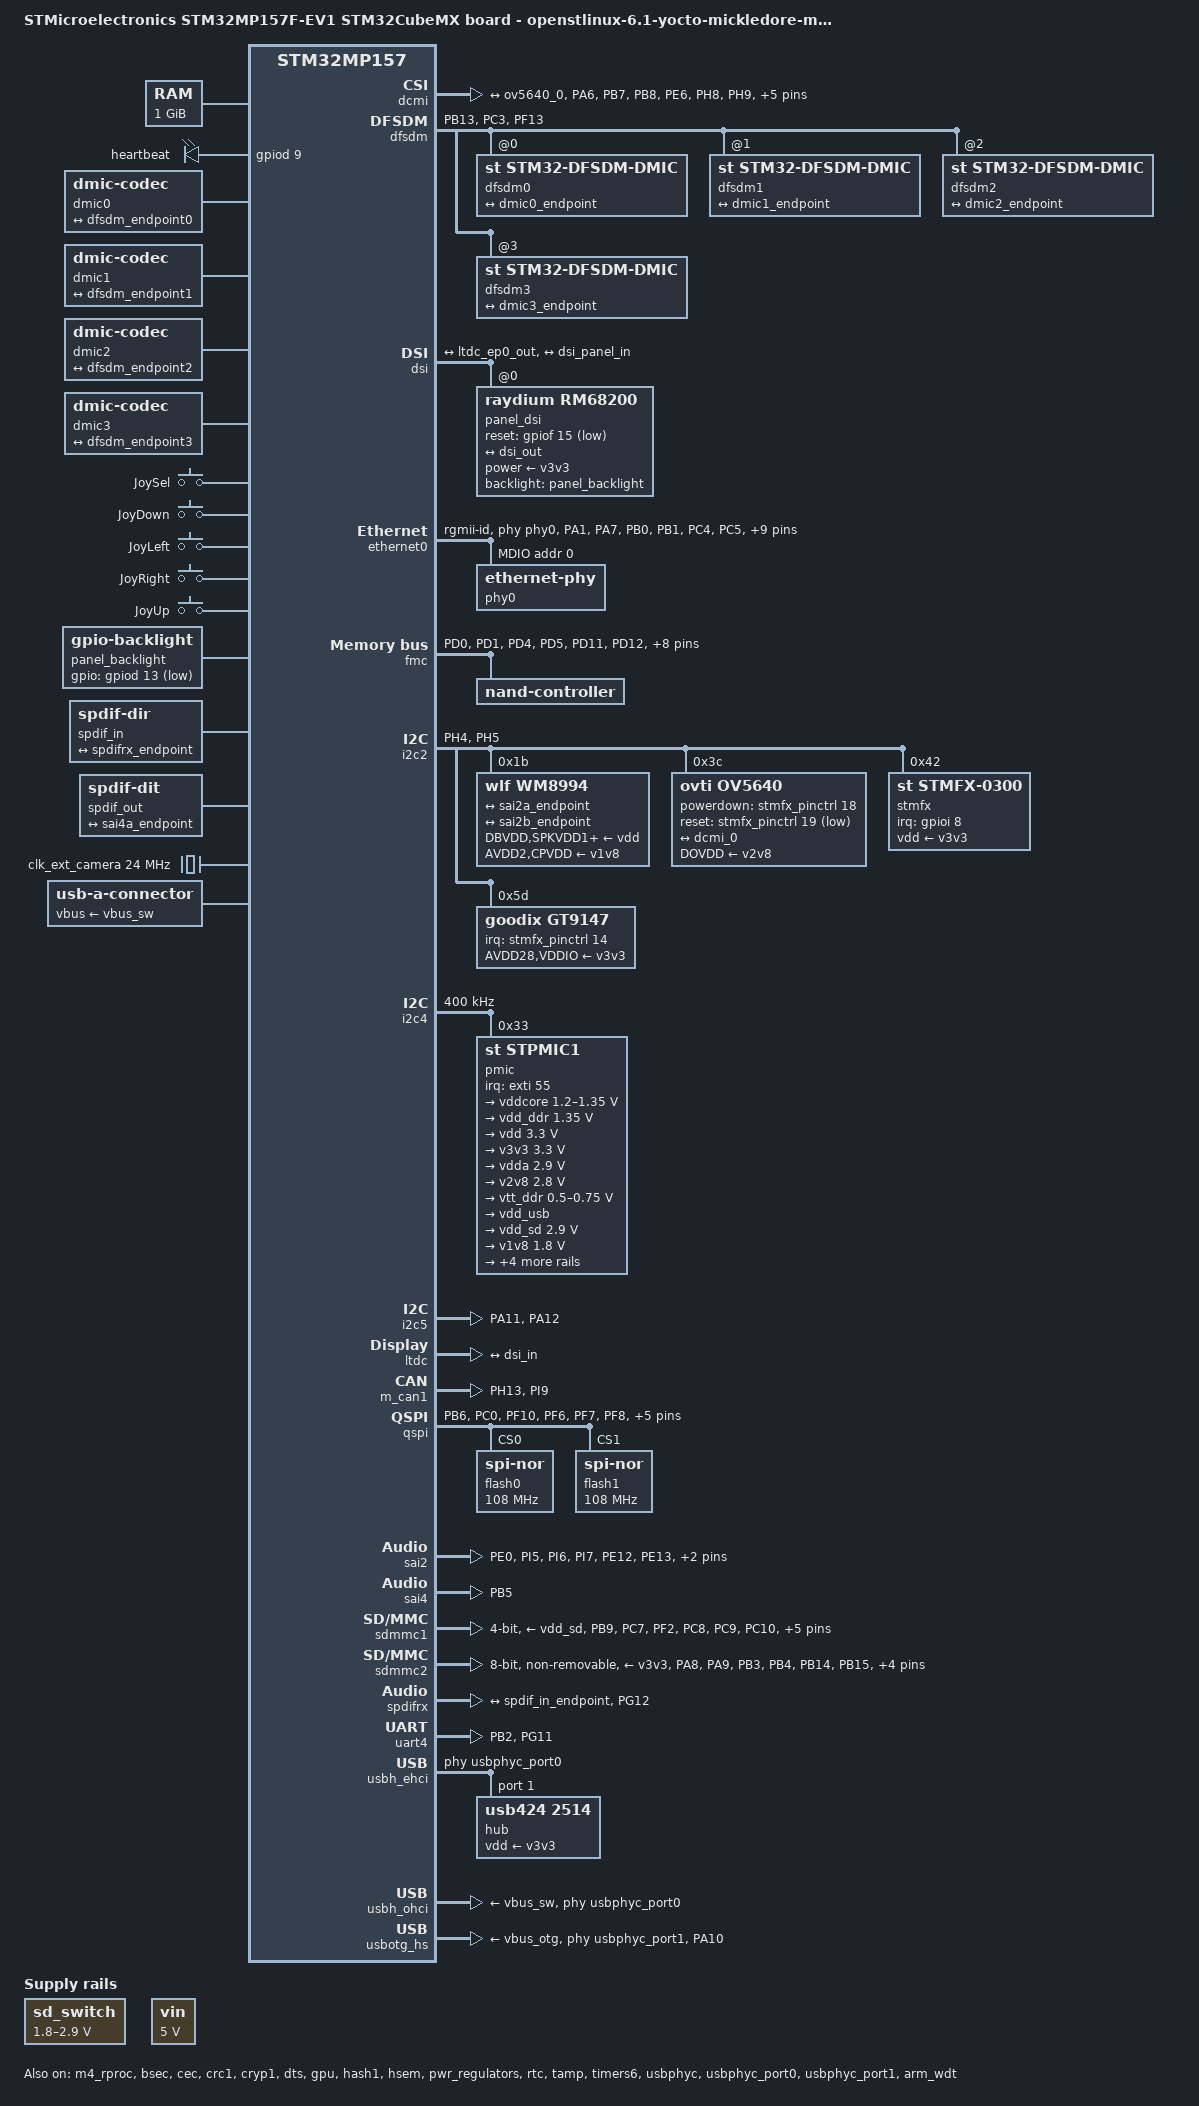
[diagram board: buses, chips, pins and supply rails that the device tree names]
// SPDX-License-Identifier: (GPL-2.0-or-later OR BSD-3-Clause)
/*
 * Copyright (C) 2024, STMicroelectronics - All Rights Reserved
 * Author: STM32CubeMX code generation for STMicroelectronics.
 */

/* For more information on Device Tree configuration, please refer to
 * https://wiki.st.com/stm32mpu/wiki/Category:Device_tree_configuration
 */

/dts-v1/;

#include <dt-bindings/pinctrl/stm32-pinfunc.h>
#include "stm32mp157.dtsi"
#include "stm32mp15xf.dtsi"
#include "stm32mp15xxaa-pinctrl.dtsi"
#include "stm32mp15-m4-srm.dtsi"

/* USER CODE BEGIN includes */
#include "stm32mp157c-ed1-scmi.dtsi"
#include <dt-bindings/gpio/gpio.h>
#include <dt-bindings/mfd/st,stpmic1.h>
#include "stm32mp157c-ev1-scmi.dtsi"
#include <dt-bindings/input/input.h>
/* USER CODE END includes */

/ {
	model = "STMicroelectronics STM32MP157F-EV1 STM32CubeMX board - openstlinux-6.1-yocto-mickledore-mpu-v24.06.26";
	compatible = "st,stm32mp157f-stm32mp157f-ev1-mx", "st,stm32mp157f-ev1", "st,stm32mp157";

	memory@c0000000 {
		device_type = "memory";
		reg = <0xc0000000 0x40000000>;

		/* USER CODE BEGIN memory */
		/* USER CODE END memory */
	};

	reserved-memory {
		#address-cells = <1>;
		#size-cells = <1>;
		ranges;

		/* USER CODE BEGIN reserved-memory */

		mcuram2:mcuram2@10000000{
			compatible = "shared-dma-pool";
			reg = <0x10000000 0x40000>;
			no-map;
		};

		vdev0vring0:vdev0vring0@10040000{
			compatible = "shared-dma-pool";
			reg = <0x10040000 0x1000>;
			no-map;
		};

		vdev0vring1:vdev0vring1@10041000{
			compatible = "shared-dma-pool";
			reg = <0x10041000 0x1000>;
			no-map;
		};

		vdev0buffer:vdev0buffer@10042000{
			compatible = "shared-dma-pool";
			reg = <0x10042000 0x4000>;
			no-map;
		};

		mcu_rsc_table:mcu-rsc-table@10048000{
			compatible = "shared-dma-pool";
			reg = <0x10048000 0x8000>;
			no-map;
		};

		mcuram:mcuram@30000000{
			compatible = "shared-dma-pool";
			reg = <0x30000000 0x40000>;
			no-map;
		};

		retram:retram@38000000{
			compatible = "shared-dma-pool";
			reg = <0x38000000 0x10000>;
			no-map;
		};

		gpu_reserved:gpu@e8000000{
			reg = <0xe8000000 0x8000000>;
			no-map;
		};

		linux,cma{
			compatible = "shared-dma-pool";
			reusable;
			size = <0x8000000>;
			alignment = <0x2000>;
			linux,cma-default;
		};
		/* USER CODE END reserved-memory */
	};

	/* USER CODE BEGIN root */

	aliases{
		serial0 = &uart4;
		serial1 = &usart3;
		serial4 = &usart1;
		ethernet0 = &ethernet0;
	};

	chosen{
		stdout-path = "serial0:115200n8";
		#address-cells = <1>;
		#size-cells = <1>;
		ranges;
	};

	led{
		compatible = "gpio-leds";

		led-blue{
			label = "heartbeat";
			gpios = <&gpiod 9 GPIO_ACTIVE_HIGH>;
			linux,default-trigger = "heartbeat";
			default-state = "off";
		};
	};

	sd_switch:regulator-sd-switch{
		compatible = "regulator-gpio";
		regulator-name = "sd_switch";
		regulator-min-microvolt = <1800000>;
		regulator-max-microvolt = <2900000>;
		regulator-type = "voltage";
		regulator-always-on;
		gpios = <&gpiof 14 GPIO_ACTIVE_HIGH>;
		gpios-states = <0>;
		states = <1800000 0x1>,
				<2900000 0x0>;
	};

	vin:vin{
		compatible = "regulator-fixed";
		regulator-name = "vin";
		regulator-min-microvolt = <5000000>;
		regulator-max-microvolt = <5000000>;
		regulator-always-on;
	};

	dmic0:dmic-0{
		compatible = "dmic-codec";
		#sound-dai-cells = <1>;
		sound-name-prefix = "dmic0";

		port{

			dmic0_endpoint:endpoint{
				remote-endpoint = <&dfsdm_endpoint0>;
			};
		};
	};

	dmic1:dmic-1{
		compatible = "dmic-codec";
		#sound-dai-cells = <1>;
		sound-name-prefix = "dmic1";

		port{

			dmic1_endpoint:endpoint{
				remote-endpoint = <&dfsdm_endpoint1>;
			};
		};
	};

	dmic2:dmic-2{
		compatible = "dmic-codec";
		#sound-dai-cells = <1>;
		sound-name-prefix = "dmic2";

		port{

			dmic2_endpoint:endpoint{
				remote-endpoint = <&dfsdm_endpoint2>;
			};
		};
	};

	dmic3:dmic-3{
		compatible = "dmic-codec";
		#sound-dai-cells = <1>;
		sound-name-prefix = "dmic3";

		port{

			dmic3_endpoint:endpoint{
				remote-endpoint = <&dfsdm_endpoint3>;
			};
		};
	};

	joystick{
		compatible = "gpio-keys";
		pinctrl-0 = <&joystick_pins>;
		pinctrl-names = "default";

		button-0{
			label = "JoySel";
			linux,code = <KEY_ENTER>;
			interrupt-parent = <&stmfx_pinctrl>;
			interrupts = <0 IRQ_TYPE_EDGE_RISING>;
		};

		button-1{
			label = "JoyDown";
			linux,code = <KEY_DOWN>;
			interrupt-parent = <&stmfx_pinctrl>;
			interrupts = <1 IRQ_TYPE_EDGE_RISING>;
		};

		button-2{
			label = "JoyLeft";
			linux,code = <KEY_LEFT>;
			interrupt-parent = <&stmfx_pinctrl>;
			interrupts = <2 IRQ_TYPE_EDGE_RISING>;
		};

		button-3{
			label = "JoyRight";
			linux,code = <KEY_RIGHT>;
			interrupt-parent = <&stmfx_pinctrl>;
			interrupts = <3 IRQ_TYPE_EDGE_RISING>;
		};

		button-4{
			label = "JoyUp";
			linux,code = <KEY_UP>;
			interrupt-parent = <&stmfx_pinctrl>;
			interrupts = <4 IRQ_TYPE_EDGE_RISING>;
		};
	};

	panel_backlight:panel-backlight{
		compatible = "gpio-backlight";
		gpios = <&gpiod 13 GPIO_ACTIVE_LOW>;
		default-on;
		default-brightness-level = <1>;
		status = "okay";
	};

	sound:sound{
		compatible = "audio-graph-card";
		label = "STM32MP15-EV";
		routing = "AIF1CLK", "MCLK1",
				"AIF2CLK", "MCLK1",
				"IN1LN", "MICBIAS2",
				"DMIC2DAT", "MICBIAS1",
				"DMIC1DAT", "MICBIAS1";
		dais = <&sai2a_port &sai2b_port &sai4a_port &spdifrx_port
			&dfsdm0_port &dfsdm1_port &dfsdm2_port &dfsdm3_port>;
		status = "okay";
	};

	spdif_in:spdif-in{
		#sound-dai-cells = <0>;
		compatible = "linux,spdif-dir";

		spdif_in_port:port{

			spdif_in_endpoint:endpoint{
				remote-endpoint = <&spdifrx_endpoint>;
			};
		};
	};

	spdif_out:spdif-out{
		#sound-dai-cells = <0>;
		compatible = "linux,spdif-dit";

		spdif_out_port:port{

			spdif_out_endpoint:endpoint{
				remote-endpoint = <&sai4a_endpoint>;
			};
		};
	};
	/* USER CODE END root */

	clocks{

		/* USER CODE BEGIN clocks */

		clk_ext_camera:clk-ext-camera{
			#clock-cells = <0>;
			compatible = "fixed-clock";
			clock-frequency = <24000000>;
		};
		/* USER CODE END clocks */
	};

}; /*root*/

&pinctrl {

	dcmi_pins_mx: dcmi_mx-0 {
		pins {
			pinmux = <STM32_PINMUX('A', 6, AF13)>, /* DCMI_PIXCLK */
					 <STM32_PINMUX('B', 7, AF13)>, /* DCMI_VSYNC */
					 <STM32_PINMUX('B', 8, AF13)>, /* DCMI_D6 */
					 <STM32_PINMUX('E', 6, AF13)>, /* DCMI_D7 */
					 <STM32_PINMUX('H', 8, AF13)>, /* DCMI_HSYNC */
					 <STM32_PINMUX('H', 9, AF13)>, /* DCMI_D0 */
					 <STM32_PINMUX('H', 10, AF13)>, /* DCMI_D1 */
					 <STM32_PINMUX('H', 11, AF13)>, /* DCMI_D2 */
					 <STM32_PINMUX('H', 12, AF13)>, /* DCMI_D3 */
					 <STM32_PINMUX('H', 14, AF13)>, /* DCMI_D4 */
					 <STM32_PINMUX('I', 4, AF13)>; /* DCMI_D5 */
			bias-disable;
		};
	};

	dcmi_sleep_pins_mx: dcmi_sleep_mx-0 {
		pins {
			pinmux = <STM32_PINMUX('A', 6, ANALOG)>, /* DCMI_PIXCLK */
					 <STM32_PINMUX('B', 7, ANALOG)>, /* DCMI_VSYNC */
					 <STM32_PINMUX('B', 8, ANALOG)>, /* DCMI_D6 */
					 <STM32_PINMUX('E', 6, ANALOG)>, /* DCMI_D7 */
					 <STM32_PINMUX('H', 8, ANALOG)>, /* DCMI_HSYNC */
					 <STM32_PINMUX('H', 9, ANALOG)>, /* DCMI_D0 */
					 <STM32_PINMUX('H', 10, ANALOG)>, /* DCMI_D1 */
					 <STM32_PINMUX('H', 11, ANALOG)>, /* DCMI_D2 */
					 <STM32_PINMUX('H', 12, ANALOG)>, /* DCMI_D3 */
					 <STM32_PINMUX('H', 14, ANALOG)>, /* DCMI_D4 */
					 <STM32_PINMUX('I', 4, ANALOG)>; /* DCMI_D5 */
		};
	};

	dfsdm_pins_mx: dfsdm_mx-0 {
		pins1 {
			pinmux = <STM32_PINMUX('B', 13, AF3)>; /* DFSDM1_CKOUT */
			bias-disable;
			drive-push-pull;
			slew-rate = <0>;
		};
		pins2 {
			pinmux = <STM32_PINMUX('C', 3, AF3)>, /* DFSDM1_DATIN1 */
					 <STM32_PINMUX('F', 13, AF6)>; /* DFSDM1_DATIN3 */
			bias-disable;
		};
	};

	dfsdm_sleep_pins_mx: dfsdm_sleep_mx-0 {
		pins {
			pinmux = <STM32_PINMUX('B', 13, ANALOG)>, /* DFSDM1_CKOUT */
					 <STM32_PINMUX('C', 3, ANALOG)>, /* DFSDM1_DATIN1 */
					 <STM32_PINMUX('F', 13, ANALOG)>; /* DFSDM1_DATIN3 */
		};
	};

	eth1_pins_mx: eth1_mx-0 {
		pins1 {
			pinmux = <STM32_PINMUX('A', 1, AF11)>, /* ETH1_RX_CLK */
					 <STM32_PINMUX('A', 7, AF11)>, /* ETH1_RX_CTL */
					 <STM32_PINMUX('B', 0, AF11)>, /* ETH1_RXD2 */
					 <STM32_PINMUX('B', 1, AF11)>, /* ETH1_RXD3 */
					 <STM32_PINMUX('C', 4, AF11)>, /* ETH1_RXD0 */
					 <STM32_PINMUX('C', 5, AF11)>; /* ETH1_RXD1 */
			bias-disable;
		};
		pins2 {
			pinmux = <STM32_PINMUX('A', 2, AF11)>; /* ETH1_MDIO */
			bias-disable;
			drive-push-pull;
			slew-rate = <0>;
		};
		pins3 {
			pinmux = <STM32_PINMUX('B', 11, AF11)>, /* ETH1_TX_CTL */
					 <STM32_PINMUX('C', 1, AF11)>, /* ETH1_MDC */
					 <STM32_PINMUX('C', 2, AF11)>, /* ETH1_TXD2 */
					 <STM32_PINMUX('E', 2, AF11)>, /* ETH1_TXD3 */
					 <STM32_PINMUX('G', 4, AF11)>, /* ETH1_GTX_CLK */
					 <STM32_PINMUX('G', 5, AF11)>, /* ETH1_CLK125 */
					 <STM32_PINMUX('G', 13, AF11)>, /* ETH1_TXD0 */
					 <STM32_PINMUX('G', 14, AF11)>; /* ETH1_TXD1 */
			bias-disable;
			drive-push-pull;
			slew-rate = <2>;
		};
	};

	eth1_sleep_pins_mx: eth1_sleep_mx-0 {
		pins {
			pinmux = <STM32_PINMUX('A', 1, ANALOG)>, /* ETH1_RX_CLK */
					 <STM32_PINMUX('A', 2, ANALOG)>, /* ETH1_MDIO */
					 <STM32_PINMUX('A', 7, ANALOG)>, /* ETH1_RX_CTL */
					 <STM32_PINMUX('B', 0, ANALOG)>, /* ETH1_RXD2 */
					 <STM32_PINMUX('B', 1, ANALOG)>, /* ETH1_RXD3 */
					 <STM32_PINMUX('B', 11, ANALOG)>, /* ETH1_TX_CTL */
					 <STM32_PINMUX('C', 1, ANALOG)>, /* ETH1_MDC */
					 <STM32_PINMUX('C', 2, ANALOG)>, /* ETH1_TXD2 */
					 <STM32_PINMUX('C', 4, ANALOG)>, /* ETH1_RXD0 */
					 <STM32_PINMUX('C', 5, ANALOG)>, /* ETH1_RXD1 */
					 <STM32_PINMUX('E', 2, ANALOG)>, /* ETH1_TXD3 */
					 <STM32_PINMUX('G', 4, ANALOG)>, /* ETH1_GTX_CLK */
					 <STM32_PINMUX('G', 5, ANALOG)>, /* ETH1_CLK125 */
					 <STM32_PINMUX('G', 13, ANALOG)>, /* ETH1_TXD0 */
					 <STM32_PINMUX('G', 14, ANALOG)>; /* ETH1_TXD1 */
		};
	};

	fdcan1_pins_mx: fdcan1_mx-0 {
		pins1 {
			pinmux = <STM32_PINMUX('H', 13, AF9)>; /* FDCAN1_TX */
			bias-disable;
			drive-push-pull;
			slew-rate = <1>;
		};
		pins2 {
			pinmux = <STM32_PINMUX('I', 9, AF9)>; /* FDCAN1_RX */
			bias-disable;
		};
	};

	fdcan1_sleep_pins_mx: fdcan1_sleep_mx-0 {
		pins {
			pinmux = <STM32_PINMUX('H', 13, ANALOG)>, /* FDCAN1_TX */
					 <STM32_PINMUX('I', 9, ANALOG)>; /* FDCAN1_RX */
		};
	};

	fmc_pins_mx: fmc_mx-0 {
		pins1 {
			pinmux = <STM32_PINMUX('D', 0, AF12)>, /* FMC_D2 */
					 <STM32_PINMUX('D', 1, AF12)>, /* FMC_D3 */
					 <STM32_PINMUX('D', 4, AF12)>, /* FMC_NOE */
					 <STM32_PINMUX('D', 5, AF12)>, /* FMC_NWE */
					 <STM32_PINMUX('D', 11, AF12)>, /* FMC_CLE */
					 <STM32_PINMUX('D', 12, AF12)>, /* FMC_ALE */
					 <STM32_PINMUX('D', 14, AF12)>, /* FMC_D0 */
					 <STM32_PINMUX('D', 15, AF12)>, /* FMC_D1 */
					 <STM32_PINMUX('E', 7, AF12)>, /* FMC_D4 */
					 <STM32_PINMUX('E', 8, AF12)>, /* FMC_D5 */
					 <STM32_PINMUX('E', 9, AF12)>, /* FMC_D6 */
					 <STM32_PINMUX('E', 10, AF12)>, /* FMC_D7 */
					 <STM32_PINMUX('G', 9, AF12)>; /* FMC_NCE */
			bias-disable;
			drive-push-pull;
			slew-rate = <1>;
		};
		pins2 {
			pinmux = <STM32_PINMUX('D', 6, AF12)>; /* FMC_NWAIT */
			bias-pull-up;
		};
	};

	fmc_sleep_pins_mx: fmc_sleep_mx-0 {
		pins {
			pinmux = <STM32_PINMUX('D', 0, ANALOG)>, /* FMC_D2 */
					 <STM32_PINMUX('D', 1, ANALOG)>, /* FMC_D3 */
					 <STM32_PINMUX('D', 4, ANALOG)>, /* FMC_NOE */
					 <STM32_PINMUX('D', 5, ANALOG)>, /* FMC_NWE */
					 <STM32_PINMUX('D', 6, ANALOG)>, /* FMC_NWAIT */
					 <STM32_PINMUX('D', 11, ANALOG)>, /* FMC_CLE */
					 <STM32_PINMUX('D', 12, ANALOG)>, /* FMC_ALE */
					 <STM32_PINMUX('D', 14, ANALOG)>, /* FMC_D0 */
					 <STM32_PINMUX('D', 15, ANALOG)>, /* FMC_D1 */
					 <STM32_PINMUX('E', 7, ANALOG)>, /* FMC_D4 */
					 <STM32_PINMUX('E', 8, ANALOG)>, /* FMC_D5 */
					 <STM32_PINMUX('E', 9, ANALOG)>, /* FMC_D6 */
					 <STM32_PINMUX('E', 10, ANALOG)>, /* FMC_D7 */
					 <STM32_PINMUX('G', 9, ANALOG)>; /* FMC_NCE */
		};
	};

	hdmi_cec_pins_mx: hdmi_cec_mx-0 {
		pins {
			pinmux = <STM32_PINMUX('A', 15, AF4)>; /* CEC */
			bias-disable;
			drive-open-drain;
			slew-rate = <0>;
		};
	};

	hdmi_cec_sleep_pins_mx: hdmi_cec_sleep_mx-0 {
		pins {
			pinmux = <STM32_PINMUX('A', 15, ANALOG)>; /* CEC */
		};
	};

	i2c2_pins_mx: i2c2_mx-0 {
		pins {
			pinmux = <STM32_PINMUX('H', 4, AF4)>, /* I2C2_SCL */
					 <STM32_PINMUX('H', 5, AF4)>; /* I2C2_SDA */
			bias-disable;
			drive-open-drain;
			slew-rate = <0>;
		};
	};

	i2c2_sleep_pins_mx: i2c2_sleep_mx-0 {
		pins {
			pinmux = <STM32_PINMUX('H', 4, ANALOG)>, /* I2C2_SCL */
					 <STM32_PINMUX('H', 5, ANALOG)>; /* I2C2_SDA */
		};
	};

	i2c5_pins_mx: i2c5_mx-0 {
		pins {
			pinmux = <STM32_PINMUX('A', 11, AF4)>, /* I2C5_SCL */
					 <STM32_PINMUX('A', 12, AF4)>; /* I2C5_SDA */
			bias-disable;
			drive-open-drain;
			slew-rate = <0>;
		};
	};

	i2c5_sleep_pins_mx: i2c5_sleep_mx-0 {
		pins {
			pinmux = <STM32_PINMUX('A', 11, ANALOG)>, /* I2C5_SCL */
					 <STM32_PINMUX('A', 12, ANALOG)>; /* I2C5_SDA */
		};
	};

	quadspi_pins_mx: quadspi_mx-0 {
		pins1 {
			pinmux = <STM32_PINMUX('B', 6, AF10)>, /* QUADSPI_BK1_NCS */
					 <STM32_PINMUX('C', 0, AF10)>; /* QUADSPI_BK2_NCS */
			bias-pull-up;
			drive-push-pull;
			slew-rate = <1>;
		};
		pins2 {
			pinmux = <STM32_PINMUX('F', 10, AF9)>; /* QUADSPI_CLK */
			bias-disable;
			drive-push-pull;
			slew-rate = <3>;
		};
		pins3 {
			pinmux = <STM32_PINMUX('F', 6, AF9)>, /* QUADSPI_BK1_IO3 */
					 <STM32_PINMUX('F', 7, AF9)>, /* QUADSPI_BK1_IO2 */
					 <STM32_PINMUX('F', 8, AF10)>, /* QUADSPI_BK1_IO0 */
					 <STM32_PINMUX('F', 9, AF10)>, /* QUADSPI_BK1_IO1 */
					 <STM32_PINMUX('G', 7, AF11)>, /* QUADSPI_BK2_IO3 */
					 <STM32_PINMUX('G', 10, AF11)>, /* QUADSPI_BK2_IO2 */
					 <STM32_PINMUX('H', 2, AF9)>, /* QUADSPI_BK2_IO0 */
					 <STM32_PINMUX('H', 3, AF9)>; /* QUADSPI_BK2_IO1 */
			bias-disable;
			drive-push-pull;
			slew-rate = <1>;
		};
	};

	quadspi_sleep_pins_mx: quadspi_sleep_mx-0 {
		pins {
			pinmux = <STM32_PINMUX('B', 6, ANALOG)>, /* QUADSPI_BK1_NCS */
					 <STM32_PINMUX('C', 0, ANALOG)>, /* QUADSPI_BK2_NCS */
					 <STM32_PINMUX('F', 6, ANALOG)>, /* QUADSPI_BK1_IO3 */
					 <STM32_PINMUX('F', 7, ANALOG)>, /* QUADSPI_BK1_IO2 */
					 <STM32_PINMUX('F', 8, ANALOG)>, /* QUADSPI_BK1_IO0 */
					 <STM32_PINMUX('F', 9, ANALOG)>, /* QUADSPI_BK1_IO1 */
					 <STM32_PINMUX('F', 10, ANALOG)>, /* QUADSPI_CLK */
					 <STM32_PINMUX('G', 7, ANALOG)>, /* QUADSPI_BK2_IO3 */
					 <STM32_PINMUX('G', 10, ANALOG)>, /* QUADSPI_BK2_IO2 */
					 <STM32_PINMUX('H', 2, ANALOG)>, /* QUADSPI_BK2_IO0 */
					 <STM32_PINMUX('H', 3, ANALOG)>; /* QUADSPI_BK2_IO1 */
		};
	};

	sai2a_pins_mx: sai2a_mx-0 {
		pins {
			pinmux = <STM32_PINMUX('E', 0, AF10)>, /* SAI2_MCLK_A */
					 <STM32_PINMUX('I', 5, AF10)>, /* SAI2_SCK_A */
					 <STM32_PINMUX('I', 6, AF10)>, /* SAI2_SD_A */
					 <STM32_PINMUX('I', 7, AF10)>; /* SAI2_FS_A */
			bias-disable;
			drive-push-pull;
			slew-rate = <0>;
		};
	};

	sai2a_sleep_pins_mx: sai2a_sleep_mx-0 {
		pins {
			pinmux = <STM32_PINMUX('E', 0, ANALOG)>, /* SAI2_MCLK_A */
					 <STM32_PINMUX('I', 5, ANALOG)>, /* SAI2_SCK_A */
					 <STM32_PINMUX('I', 6, ANALOG)>, /* SAI2_SD_A */
					 <STM32_PINMUX('I', 7, ANALOG)>; /* SAI2_FS_A */
		};
	};

	sai2b_pins_mx: sai2b_mx-0 {
		pins {
			pinmux = <STM32_PINMUX('E', 12, AF10)>, /* SAI2_SCK_B */
					 <STM32_PINMUX('E', 13, AF10)>, /* SAI2_FS_B */
					 <STM32_PINMUX('E', 14, AF10)>, /* SAI2_MCLK_B */
					 <STM32_PINMUX('F', 11, AF10)>; /* SAI2_SD_B */
			bias-disable;
			drive-push-pull;
			slew-rate = <0>;
		};
	};

	sai2b_sleep_pins_mx: sai2b_sleep_mx-0 {
		pins {
			pinmux = <STM32_PINMUX('E', 12, ANALOG)>, /* SAI2_SCK_B */
					 <STM32_PINMUX('E', 13, ANALOG)>, /* SAI2_FS_B */
					 <STM32_PINMUX('E', 14, ANALOG)>, /* SAI2_MCLK_B */
					 <STM32_PINMUX('F', 11, ANALOG)>; /* SAI2_SD_B */
		};
	};

	sai4a_pins_mx: sai4a_mx-0 {
		pins {
			pinmux = <STM32_PINMUX('B', 5, AF10)>; /* SAI4_SD_A */
			bias-disable;
			drive-push-pull;
			slew-rate = <0>;
		};
	};

	sai4a_sleep_pins_mx: sai4a_sleep_mx-0 {
		pins {
			pinmux = <STM32_PINMUX('B', 5, ANALOG)>; /* SAI4_SD_A */
		};
	};

	sdmmc1_pins_mx: sdmmc1_mx-0 {
		pins1 {
			pinmux = <STM32_PINMUX('B', 9, AF11)>, /* SDMMC1_CDIR */
					 <STM32_PINMUX('C', 7, AF8)>, /* SDMMC1_D123DIR */
					 <STM32_PINMUX('F', 2, AF11)>; /* SDMMC1_D0DIR */
			bias-pull-up;
			drive-push-pull;
			slew-rate = <1>;
		};
		pins2 {
			pinmux = <STM32_PINMUX('C', 8, AF12)>, /* SDMMC1_D0 */
					 <STM32_PINMUX('C', 9, AF12)>, /* SDMMC1_D1 */
					 <STM32_PINMUX('C', 10, AF12)>, /* SDMMC1_D2 */
					 <STM32_PINMUX('C', 11, AF12)>, /* SDMMC1_D3 */
					 <STM32_PINMUX('D', 2, AF12)>; /* SDMMC1_CMD */
			bias-disable;
			drive-push-pull;
			slew-rate = <1>;
		};
		pins3 {
			pinmux = <STM32_PINMUX('C', 12, AF12)>; /* SDMMC1_CK */
			bias-disable;
			drive-push-pull;
			slew-rate = <2>;
		};
		pins4 {
			pinmux = <STM32_PINMUX('E', 4, AF8)>; /* SDMMC1_CKIN */
			bias-pull-up;
		};
	};

	sdmmc1_opendrain_pins_mx: sdmmc1_opendrain_mx-0 {
		pins1 {
			pinmux = <STM32_PINMUX('B', 9, AF11)>, /* SDMMC1_CDIR */
					 <STM32_PINMUX('C', 7, AF8)>, /* SDMMC1_D123DIR */
					 <STM32_PINMUX('F', 2, AF11)>; /* SDMMC1_D0DIR */
			bias-pull-up;
			drive-push-pull;
			slew-rate = <1>;
		};
		pins2 {
			pinmux = <STM32_PINMUX('C', 8, AF12)>, /* SDMMC1_D0 */
					 <STM32_PINMUX('C', 9, AF12)>, /* SDMMC1_D1 */
					 <STM32_PINMUX('C', 10, AF12)>, /* SDMMC1_D2 */
					 <STM32_PINMUX('C', 11, AF12)>; /* SDMMC1_D3 */
			bias-disable;
			drive-push-pull;
			slew-rate = <1>;
		};
		pins3 {
			pinmux = <STM32_PINMUX('C', 12, AF12)>; /* SDMMC1_CK */
			bias-disable;
			drive-push-pull;
			slew-rate = <2>;
		};
		pins4 {
			pinmux = <STM32_PINMUX('D', 2, AF12)>; /* SDMMC1_CMD */
			bias-disable;
			drive-open-drain;
			slew-rate = <1>;
		};
		pins5 {
			pinmux = <STM32_PINMUX('E', 4, AF8)>; /* SDMMC1_CKIN */
			bias-pull-up;
		};
	};

	sdmmc1_sleep_pins_mx: sdmmc1_sleep_mx-0 {
		pins {
			pinmux = <STM32_PINMUX('B', 9, ANALOG)>, /* SDMMC1_CDIR */
					 <STM32_PINMUX('C', 7, ANALOG)>, /* SDMMC1_D123DIR */
					 <STM32_PINMUX('C', 8, ANALOG)>, /* SDMMC1_D0 */
					 <STM32_PINMUX('C', 9, ANALOG)>, /* SDMMC1_D1 */
					 <STM32_PINMUX('C', 10, ANALOG)>, /* SDMMC1_D2 */
					 <STM32_PINMUX('C', 11, ANALOG)>, /* SDMMC1_D3 */
					 <STM32_PINMUX('C', 12, ANALOG)>, /* SDMMC1_CK */
					 <STM32_PINMUX('D', 2, ANALOG)>, /* SDMMC1_CMD */
					 <STM32_PINMUX('E', 4, ANALOG)>, /* SDMMC1_CKIN */
					 <STM32_PINMUX('F', 2, ANALOG)>; /* SDMMC1_D0DIR */
		};
	};

	sdmmc2_pins_mx: sdmmc2_mx-0 {
		pins1 {
			pinmux = <STM32_PINMUX('A', 8, AF9)>, /* SDMMC2_D4 */
					 <STM32_PINMUX('A', 9, AF10)>, /* SDMMC2_D5 */
					 <STM32_PINMUX('B', 3, AF9)>, /* SDMMC2_D2 */
					 <STM32_PINMUX('B', 4, AF9)>, /* SDMMC2_D3 */
					 <STM32_PINMUX('B', 14, AF9)>, /* SDMMC2_D0 */
					 <STM32_PINMUX('B', 15, AF9)>, /* SDMMC2_D1 */
					 <STM32_PINMUX('D', 3, AF9)>, /* SDMMC2_D7 */
					 <STM32_PINMUX('E', 5, AF9)>, /* SDMMC2_D6 */
					 <STM32_PINMUX('G', 6, AF10)>; /* SDMMC2_CMD */
			bias-pull-up;
			drive-push-pull;
			slew-rate = <1>;
		};
		pins2 {
			pinmux = <STM32_PINMUX('E', 3, AF9)>; /* SDMMC2_CK */
			bias-pull-up;
			drive-push-pull;
			slew-rate = <2>;
		};
	};

	sdmmc2_opendrain_pins_mx: sdmmc2_opendrain_mx-0 {
		pins1 {
			pinmux = <STM32_PINMUX('A', 8, AF9)>, /* SDMMC2_D4 */
					 <STM32_PINMUX('A', 9, AF10)>, /* SDMMC2_D5 */
					 <STM32_PINMUX('B', 3, AF9)>, /* SDMMC2_D2 */
					 <STM32_PINMUX('B', 4, AF9)>, /* SDMMC2_D3 */
					 <STM32_PINMUX('B', 14, AF9)>, /* SDMMC2_D0 */
					 <STM32_PINMUX('B', 15, AF9)>, /* SDMMC2_D1 */
					 <STM32_PINMUX('D', 3, AF9)>, /* SDMMC2_D7 */
					 <STM32_PINMUX('E', 5, AF9)>; /* SDMMC2_D6 */
			bias-pull-up;
			drive-push-pull;
			slew-rate = <1>;
		};
		pins2 {
			pinmux = <STM32_PINMUX('E', 3, AF9)>; /* SDMMC2_CK */
			bias-pull-up;
			drive-push-pull;
			slew-rate = <2>;
		};
		pins3 {
			pinmux = <STM32_PINMUX('G', 6, AF10)>; /* SDMMC2_CMD */
			bias-pull-up;
			drive-open-drain;
			slew-rate = <1>;
		};
	};

	sdmmc2_sleep_pins_mx: sdmmc2_sleep_mx-0 {
		pins {
			pinmux = <STM32_PINMUX('A', 8, ANALOG)>, /* SDMMC2_D4 */
					 <STM32_PINMUX('A', 9, ANALOG)>, /* SDMMC2_D5 */
					 <STM32_PINMUX('B', 3, ANALOG)>, /* SDMMC2_D2 */
					 <STM32_PINMUX('B', 4, ANALOG)>, /* SDMMC2_D3 */
					 <STM32_PINMUX('B', 14, ANALOG)>, /* SDMMC2_D0 */
					 <STM32_PINMUX('B', 15, ANALOG)>, /* SDMMC2_D1 */
					 <STM32_PINMUX('D', 3, ANALOG)>, /* SDMMC2_D7 */
					 <STM32_PINMUX('E', 3, ANALOG)>, /* SDMMC2_CK */
					 <STM32_PINMUX('E', 5, ANALOG)>, /* SDMMC2_D6 */
					 <STM32_PINMUX('G', 6, ANALOG)>; /* SDMMC2_CMD */
		};
	};

	spdifrx_pins_mx: spdifrx_mx-0 {
		pins {
			pinmux = <STM32_PINMUX('G', 12, AF8)>; /* SPDIFRX_IN1 */
			bias-disable;
		};
	};

	spdifrx_sleep_pins_mx: spdifrx_sleep_mx-0 {
		pins {
			pinmux = <STM32_PINMUX('G', 12, ANALOG)>; /* SPDIFRX_IN1 */
		};
	};

	uart4_pins_mx: uart4_mx-0 {
		pins1 {
			pinmux = <STM32_PINMUX('B', 2, AF8)>; /* UART4_RX */
			bias-disable;
		};
		pins2 {
			pinmux = <STM32_PINMUX('G', 11, AF6)>; /* UART4_TX */
			bias-disable;
			drive-push-pull;
			slew-rate = <0>;
		};
	};

	uart4_idle_pins_mx: uart4_idle_mx-0 {
		pins1 {
			pinmux = <STM32_PINMUX('B', 2, AF8)>; /* UART4_RX */
			bias-disable;
		};
		pins2 {
			pinmux = <STM32_PINMUX('G', 11, ANALOG)>; /* UART4_TX */
		};
	};

	uart4_sleep_pins_mx: uart4_sleep_mx-0 {
		pins {
			pinmux = <STM32_PINMUX('B', 2, ANALOG)>, /* UART4_RX */
					 <STM32_PINMUX('G', 11, ANALOG)>; /* UART4_TX */
		};
	};

	usb_otg_hs_pins_mx: usb_otg_hs_mx-0 {
		pins {
			pinmux = <STM32_PINMUX('A', 10, ANALOG)>; /* USB_OTG_HS_ID */
		};
	};

	usb_otg_hs_sleep_pins_mx: usb_otg_hs_sleep_mx-0 {
		pins {
			pinmux = <STM32_PINMUX('A', 10, ANALOG)>; /* USB_OTG_HS_ID */
		};
	};

	/* USER CODE BEGIN pinctrl */
	/* USER CODE END pinctrl */
};

&pinctrl_z {

	i2c4_pins_z_mx: i2c4_mx-0 {
		pins {
			pinmux = <STM32_PINMUX('Z', 4, AF6)>, /* I2C4_SCL */
					 <STM32_PINMUX('Z', 5, AF6)>; /* I2C4_SDA */
			bias-disable;
			drive-open-drain;
			slew-rate = <0>;
		};
	};

	i2c4_sleep_pins_z_mx: i2c4_sleep_mx-0 {
		pins {
			pinmux = <STM32_PINMUX('Z', 4, ANALOG)>, /* I2C4_SCL */
					 <STM32_PINMUX('Z', 5, ANALOG)>; /* I2C4_SDA */
		};
	};

	/* USER CODE BEGIN pinctrl_z */
	/* USER CODE END pinctrl_z */
};

&m4_rproc{
	/*Restriction: "memory-region" property is not managed - please to use User-Section if needed*/
	mboxes = <&ipcc 0>, <&ipcc 1>, <&ipcc 2>;
	mbox-names = "vq0", "vq1", "shutdown";
	status = "okay";

	/* USER CODE BEGIN m4_rproc */
	memory-region = <&retram>, <&mcuram>, <&mcuram2>, <&vdev0vring0>,
			<&vdev0vring1>, <&vdev0buffer>, <&mcu_rsc_table>;
	interrupt-parent = <&exti>;
	interrupts = <68 1>;
	wakeup-source;
	/* USER CODE END m4_rproc */
};

&bsec{
	status = "okay";

	/* USER CODE BEGIN bsec */
	/* USER CODE END bsec */
};

&cec{
	pinctrl-names = "default", "sleep";
	pinctrl-0 = <&hdmi_cec_pins_mx>;
	pinctrl-1 = <&hdmi_cec_sleep_pins_mx>;
	status = "okay";

	/* USER CODE BEGIN cec */
	/* USER CODE END cec */
};

&crc1{
	status = "okay";

	/* USER CODE BEGIN crc1 */
	/* USER CODE END crc1 */
};

&cryp1{
	status = "okay";

	/* USER CODE BEGIN cryp1 */
	/* USER CODE END cryp1 */
};

&dcmi{
	pinctrl-names = "default", "sleep";
	pinctrl-0 = <&dcmi_pins_mx>;
	pinctrl-1 = <&dcmi_sleep_pins_mx>;
	status = "okay";

	/* USER CODE BEGIN dcmi */
	sram = <&dcmi_pool>;
	dmas = <&dmamux1 75 0x400 0x01>, <&mdma1 0 0x3 0x1200000a 0 0>;
	dma-names = "tx", "mdma_tx";

	port{

		dcmi_0:endpoint{
			remote-endpoint = <&ov5640_0>;
			bus-type = <5>;
			bus-width = <8>;
			hsync-active = <0>;
			vsync-active = <0>;
			pclk-sample = <1>;
			pclk-max-frequency = <77000000>;
		};
	};
	/* USER CODE END dcmi */
};

&dfsdm{
	pinctrl-names = "default", "sleep";
	pinctrl-0 = <&dfsdm_pins_mx>;
	pinctrl-1 = <&dfsdm_sleep_pins_mx>;
	status = "okay";

	/* USER CODE BEGIN dfsdm */
	spi-max-frequency = <2048000>;
	clocks = <&rcc DFSDM_K>, <&rcc ADFSDM_K>;
	clock-names = "dfsdm", "audio";

	dfsdm0:filter@0{
		compatible = "st,stm32-dfsdm-dmic";
		st,adc-channels = <3>;
		st,adc-channel-names = "dmic_u1";
		st,adc-channel-types = "SPI_R";
		st,adc-channel-clk-src = "CLKOUT";
		st,filter-order = <3>;
		status = "okay";

		asoc_pdm0:dfsdm-dai{
			compatible = "st,stm32h7-dfsdm-dai";
			#sound-dai-cells = <0>;
			io-channels = <&dfsdm0 0>;
			status = "okay";

			dfsdm0_port:port{

				dfsdm_endpoint0:endpoint{
					remote-endpoint = <&dmic0_endpoint>;
				};
			};
		};
	};

	dfsdm1:filter@1{
		compatible = "st,stm32-dfsdm-dmic";
		st,adc-channels = <0>;
		st,adc-channel-names = "dmic_u2";
		st,adc-channel-types = "SPI_F";
		st,adc-channel-clk-src = "CLKOUT";
		st,filter-order = <3>;
		st,adc-alt-channel = <1>;
		status = "okay";

		asoc_pdm1:dfsdm-dai{
			compatible = "st,stm32h7-dfsdm-dai";
			#sound-dai-cells = <0>;
			io-channels = <&dfsdm1 0>;
			status = "okay";

			dfsdm1_port:port{

				dfsdm_endpoint1:endpoint{
					remote-endpoint = <&dmic1_endpoint>;
				};
			};
		};
	};

	dfsdm2:filter@2{
		compatible = "st,stm32-dfsdm-dmic";
		st,adc-channels = <2>;
		st,adc-channel-names = "dmic_u3";
		st,adc-channel-types = "SPI_F";
		st,adc-channel-clk-src = "CLKOUT";
		st,adc-alt-channel = <1>;
		st,filter-order = <3>;
		status = "okay";

		asoc_pdm2:dfsdm-dai{
			compatible = "st,stm32h7-dfsdm-dai";
			#sound-dai-cells = <0>;
			io-channels = <&dfsdm2 0>;
			status = "okay";

			dfsdm2_port:port{

				dfsdm_endpoint2:endpoint{
					remote-endpoint = <&dmic2_endpoint>;
				};
			};
		};
	};

	dfsdm3:filter@3{
		compatible = "st,stm32-dfsdm-dmic";
		st,adc-channels = <1>;
		st,adc-channel-names = "dmic_u4";
		st,adc-channel-types = "SPI_R";
		st,adc-channel-clk-src = "CLKOUT";
		st,filter-order = <3>;
		status = "okay";

		asoc_pdm3:dfsdm-dai{
			compatible = "st,stm32h7-dfsdm-dai";
			#sound-dai-cells = <0>;
			io-channels = <&dfsdm3 0>;
			status = "okay";

			dfsdm3_port:port{

				dfsdm_endpoint3:endpoint{
					remote-endpoint = <&dmic3_endpoint>;
				};
			};
		};
	};
	/* USER CODE END dfsdm */
};

&dma1{
	status = "okay";

	/* USER CODE BEGIN dma1 */
	/* USER CODE END dma1 */
};

&dma2{
	status = "okay";

	/* USER CODE BEGIN dma2 */
	/* USER CODE END dma2 */
};

&dmamux1{
	status = "okay";

	dma-masters = <&dma1 &dma2>;
	dma-channels = <16>;

	/* USER CODE BEGIN dmamux1 */
	/* USER CODE END dmamux1 */
};

&dsi{
	status = "okay";

	/* USER CODE BEGIN dsi */
	#address-cells = <1>;
	#size-cells = <0>;
	default-on;

	ports{
		#address-cells = <1>;
		#size-cells = <0>;

		port@0{
			reg = <0>;

			dsi_in:endpoint{
				remote-endpoint = <&ltdc_ep0_out>;
			};
		};

		port@1{
			reg = <1>;

			dsi_out:endpoint{
				remote-endpoint = <&dsi_panel_in>;
			};
		};
	};

	panel_dsi:panel-dsi@0{
		compatible = "raydium,rm68200";
		reg = <0>;
		reset-gpios = <&gpiof 15 GPIO_ACTIVE_LOW>;
		backlight = <&panel_backlight>;
		power-supply = <&v3v3>;
		status = "okay";

		port{

			dsi_panel_in:endpoint{
				remote-endpoint = <&dsi_out>;
			};
		};
	};
	/* USER CODE END dsi */
};

&dts{
	status = "okay";

	/* USER CODE BEGIN dts */
	/* USER CODE END dts */
};

&ethernet0{
	pinctrl-names = "default", "sleep";
	pinctrl-0 = <&eth1_pins_mx>;
	pinctrl-1 = <&eth1_sleep_pins_mx>;
	status = "okay";

	/* USER CODE BEGIN ethernet0 */
	phy-mode = "rgmii-id";
	max-speed = <1000>;
	phy-handle = <&phy0>;

	mdio0{
		#address-cells = <1>;
		#size-cells = <0>;
		compatible = "snps,dwmac-mdio";

		phy0:ethernet-phy@0{
			reg = <0>;
		};
	};
	/* USER CODE END ethernet0 */
};

&fmc{
	pinctrl-names = "default", "sleep";
	pinctrl-0 = <&fmc_pins_mx>;
	pinctrl-1 = <&fmc_sleep_pins_mx>;
	status = "okay";

	/* USER CODE BEGIN fmc */

	nand-controller@4,0{
		status = "okay";

		nand@0{
			reg = <0>;
			nand-on-flash-bbt;
			#address-cells = <1>;
			#size-cells = <1>;
		};
	};
	/* USER CODE END fmc */
};

&gpu{
	status = "okay";

	/* USER CODE BEGIN gpu */
	contiguous-area = <&gpu_reserved>;
	/* USER CODE END gpu */
};

&hash1{
	status = "okay";

	/* USER CODE BEGIN hash1 */
	/* USER CODE END hash1 */
};

&hsem{
	status = "okay";

	/* USER CODE BEGIN hsem */
	/* USER CODE END hsem */
};

&i2c2{
	pinctrl-names = "default", "sleep";
	pinctrl-0 = <&i2c2_pins_mx>;
	pinctrl-1 = <&i2c2_sleep_pins_mx>;
	status = "okay";

	/* USER CODE BEGIN i2c2 */
	i2c-scl-rising-time-ns = <185>;
	i2c-scl-falling-time-ns = <20>;
	/delete-property/ dmas;
	/delete-property/ dma-names;

	wm8994:wm8994@1b{
		compatible = "wlf,wm8994";
		#sound-dai-cells = <0>;
		reg = <0x1b>;
		gpio-controller;
		#gpio-cells = <2>;
		DBVDD-supply = <&vdd>;
		SPKVDD1-supply = <&vdd>;
		SPKVDD2-supply = <&vdd>;
		AVDD2-supply = <&v1v8>;
		CPVDD-supply = <&v1v8>;
		wlf,ldoena-always-driven;
		clocks = <&sai2a>;
		clock-names = "MCLK1";
		wlf,gpio-cfg = <0x8101 0xa100 0xa100 0xa100 0xa101 0xa101\
						0xa100 0xa101 0xa101 0xa101 0xa101>;

		ports{
			#address-cells = <1>;
			#size-cells = <0>;

			wm8994_tx_port:port@0{
				reg = <0>;

				wm8994_tx_endpoint:endpoint{
					remote-endpoint = <&sai2a_endpoint>;
				};
			};

			wm8994_rx_port:port@1{
				reg = <1>;

				wm8994_rx_endpoint:endpoint{
					remote-endpoint = <&sai2b_endpoint>;
				};
			};
		};
	};

	ov5640:camera@3c{
		compatible = "ovti,ov5640";
		reg = <0x3c>;
		clocks = <&clk_ext_camera>;
		clock-names = "xclk";
		DOVDD-supply = <&v2v8>;
		powerdown-gpios = <&stmfx_pinctrl 18 (GPIO_ACTIVE_HIGH | GPIO_PUSH_PULL)>;
		reset-gpios = <&stmfx_pinctrl 19 (GPIO_ACTIVE_LOW | GPIO_PUSH_PULL)>;
		rotation = <180>;
		status = "okay";

		port{

			ov5640_0:endpoint{
				remote-endpoint = <&dcmi_0>;
				bus-width = <8>;
				data-shift = <2>;
				hsync-active = <0>;
				vsync-active = <0>;
				pclk-sample = <1>;
				pclk-max-frequency = <77000000>;
			};
		};
	};

	stmfx:stmfx@42{
		compatible = "st,stmfx-0300";
		reg = <0x42>;
		interrupts = <8 IRQ_TYPE_EDGE_RISING>;
		interrupt-parent = <&gpioi>;
		vdd-supply = <&v3v3>;

		stmfx_pinctrl:pinctrl{
			compatible = "st,stmfx-0300-pinctrl";
			gpio-controller;
			#gpio-cells = <2>;
			interrupt-controller;
			#interrupt-cells = <2>;
			gpio-ranges = <&stmfx_pinctrl 0 0 24>;

			goodix_pins:goodix{
				pins = "gpio14";
				bias-pull-down;
			};

			joystick_pins:joystick-pins{
				pins = "gpio0", "gpio1", "gpio2", "gpio3", "gpio4";
				bias-pull-down;
			};
		};
	};

	gt9147:goodix-ts@5d{
		compatible = "goodix,gt9147";
		reg = <0x5d>;
		panel = <&panel_dsi>;
		pinctrl-0 = <&goodix_pins>;
		pinctrl-names = "default";
		AVDD28-supply = <&v3v3>;
		VDDIO-supply = <&v3v3>;
		status = "okay";
		interrupts = <14 IRQ_TYPE_NONE>;
		interrupt-parent = <&stmfx_pinctrl>;
	};
	/* USER CODE END i2c2 */
};

&i2c4{
	pinctrl-names = "default", "sleep";
	pinctrl-0 = <&i2c4_pins_z_mx>;
	pinctrl-1 = <&i2c4_sleep_pins_z_mx>;
	status = "okay";

	/* USER CODE BEGIN i2c4 */
	i2c-scl-rising-time-ns = <185>;
	i2c-scl-falling-time-ns = <20>;
	clock-frequency = <400000>;
	/delete-property/ dmas;
	/delete-property/ dma-names;

	pmic:stpmic@33{
		compatible = "st,stpmic1";
		reg = <0x33>;
		interrupts-extended = <&exti 55 IRQ_TYPE_EDGE_FALLING>;
		interrupt-controller;
		#interrupt-cells = <2>;
		status = "okay";

		regulators{
			compatible = "st,stpmic1-regulators";
			buck1-supply = <&vin>;
			buck2-supply = <&vin>;
			buck3-supply = <&vin>;
			buck4-supply = <&vin>;
			ldo1-supply = <&v3v3>;
			ldo2-supply = <&v3v3>;
			ldo3-supply = <&vdd_ddr>;
			ldo4-supply = <&vin>;
			ldo5-supply = <&v3v3>;
			ldo6-supply = <&v3v3>;
			vref_ddr-supply = <&vin>;
			boost-supply = <&vin>;
			pwr_sw1-supply = <&bst_out>;
			pwr_sw2-supply = <&bst_out>;

			vddcore:buck1{
				regulator-name = "vddcore";
				regulator-min-microvolt = <1200000>;
				regulator-max-microvolt = <1350000>;
				regulator-always-on;
				regulator-initial-mode = <0>;
				regulator-over-current-protection;
			};

			vdd_ddr:buck2{
				regulator-name = "vdd_ddr";
				regulator-min-microvolt = <1350000>;
				regulator-max-microvolt = <1350000>;
				regulator-always-on;
				regulator-initial-mode = <0>;
				regulator-over-current-protection;
			};

			vdd:buck3{
				regulator-name = "vdd";
				regulator-min-microvolt = <3300000>;
				regulator-max-microvolt = <3300000>;
				regulator-always-on;
				st,mask-reset;
				regulator-initial-mode = <0>;
				regulator-over-current-protection;
			};

			v3v3:buck4{
				regulator-name = "v3v3";
				regulator-min-microvolt = <3300000>;
				regulator-max-microvolt = <3300000>;
				regulator-always-on;
				regulator-over-current-protection;
				regulator-initial-mode = <0>;
			};

			vdda:ldo1{
				regulator-name = "vdda";
				regulator-min-microvolt = <2900000>;
				regulator-max-microvolt = <2900000>;
				interrupts = <IT_CURLIM_LDO1 0>;
			};

			v2v8:ldo2{
				regulator-name = "v2v8";
				regulator-min-microvolt = <2800000>;
				regulator-max-microvolt = <2800000>;
				interrupts = <IT_CURLIM_LDO2 0>;
			};

			vtt_ddr:ldo3{
				regulator-name = "vtt_ddr";
				regulator-min-microvolt = <500000>;
				regulator-max-microvolt = <750000>;
				regulator-always-on;
				regulator-over-current-protection;
			};

			vdd_usb:ldo4{
				regulator-name = "vdd_usb";
				interrupts = <IT_CURLIM_LDO4 0>;
			};

			vdd_sd:ldo5{
				regulator-name = "vdd_sd";
				regulator-min-microvolt = <2900000>;
				regulator-max-microvolt = <2900000>;
				interrupts = <IT_CURLIM_LDO5 0>;
				regulator-boot-on;
			};

			v1v8:ldo6{
				regulator-name = "v1v8";
				regulator-min-microvolt = <1800000>;
				regulator-max-microvolt = <1800000>;
				interrupts = <IT_CURLIM_LDO6 0>;
				regulator-enable-ramp-delay = <300000>;
			};

			vref_ddr:vref-ddr{
				regulator-name = "vref_ddr";
				regulator-always-on;
			};

			bst_out:boost{
				regulator-name = "bst_out";
				interrupts = <IT_OCP_BOOST 0>;
			};

			vbus_otg:pwr-sw1{
				regulator-name = "vbus_otg";
				interrupts = <IT_OCP_OTG 0>;
			};

			vbus_sw:pwr-sw2{
				regulator-name = "vbus_sw";
				interrupts = <IT_OCP_SWOUT 0>;
				regulator-active-discharge = <1>;
			};
		};

		onkey{
			compatible = "st,stpmic1-onkey";
			interrupts = <IT_PONKEY_F 0>, <IT_PONKEY_R 0>;
			interrupt-names = "onkey-falling", "onkey-rising";
			power-off-time-sec = <10>;
			status = "okay";
		};
	};
	/* USER CODE END i2c4 */
};

&i2c5{
	pinctrl-names = "default", "sleep";
	pinctrl-0 = <&i2c5_pins_mx>;
	pinctrl-1 = <&i2c5_sleep_pins_mx>;
	status = "okay";

	/* USER CODE BEGIN i2c5 */
	i2c-scl-rising-time-ns = <185>;
	i2c-scl-falling-time-ns = <20>;
	/delete-property/ dmas;
	/delete-property/ dma-names;
	/* USER CODE END i2c5 */
};

&ipcc{
	status = "okay";

	/* USER CODE BEGIN ipcc */
	/* USER CODE END ipcc */
};

&ltdc{
	status = "okay";

	/* USER CODE BEGIN ltdc */
	default-on;

	port{

		ltdc_ep0_out:endpoint{
			remote-endpoint = <&dsi_in>;
		};
	};
	/* USER CODE END ltdc */
};

&m_can1{
	pinctrl-names = "default", "sleep";
	pinctrl-0 = <&fdcan1_pins_mx>;
	pinctrl-1 = <&fdcan1_sleep_pins_mx>;
	status = "okay";

	/* USER CODE BEGIN m_can1 */
	/* USER CODE END m_can1 */
};

&mdma1{
	status = "okay";

	/* USER CODE BEGIN mdma1 */
	/* USER CODE END mdma1 */
};

&pwr_regulators{
	status = "okay";

	/* USER CODE BEGIN pwr_regulators */
	vdd-supply = <&vdd>;
	vdd_3v3_usbfs-supply = <&vdd_usb>;
	/* USER CODE END pwr_regulators */
};

&qspi{
	pinctrl-names = "default", "sleep";
	pinctrl-0 = <&quadspi_pins_mx>;
	pinctrl-1 = <&quadspi_sleep_pins_mx>;
	status = "okay";

	/* USER CODE BEGIN qspi */
	reg = <0x58003000 0x1000>, <0x70000000 0x4000000>;
	#address-cells = <1>;
	#size-cells = <0>;

	flash0:flash@0{
		compatible = "jedec,spi-nor";
		reg = <0>;
		spi-rx-bus-width = <4>;
		spi-max-frequency = <108000000>;
		#address-cells = <1>;
		#size-cells = <1>;
	};

	flash1:flash@1{
		compatible = "jedec,spi-nor";
		reg = <1>;
		spi-rx-bus-width = <4>;
		spi-max-frequency = <108000000>;
		#address-cells = <1>;
		#size-cells = <1>;
	};
	/* USER CODE END qspi */
};

&rcc{
	status = "okay";

	/* USER CODE BEGIN rcc */
	/* USER CODE END rcc */
};

&rtc{
	status = "okay";

	/* USER CODE BEGIN rtc */
	/* USER CODE END rtc */
};

&sai2{
	pinctrl-names = "default", "sleep";
	pinctrl-0 = <&sai2a_pins_mx>, <&sai2b_pins_mx>;
	pinctrl-1 = <&sai2a_sleep_pins_mx>, <&sai2b_sleep_pins_mx>;
	status = "okay";

	/* USER CODE BEGIN sai2 */
	clocks = <&rcc SAI2>, <&rcc PLL3_Q>, <&rcc PLL3_R>;
	clock-names = "pclk", "x8k", "x11k";
	/* USER CODE END sai2 */

	sai2a:audio-controller@4400b004{
		status = "okay";

		/* USER CODE BEGIN sai2a */
		#clock-cells = <0>;
		dma-names = "tx";

		sai2a_port:port{

			sai2a_endpoint:endpoint{
				remote-endpoint = <&wm8994_tx_endpoint>;
				format = "i2s";
				mclk-fs = <256>;
			};
		};
		/* USER CODE END sai2a */
	};

	sai2b:audio-controller@4400b024{
		status = "okay";

		/* USER CODE BEGIN sai2b */
		dma-names = "rx";
		clocks = <&rcc SAI2_K>, <&sai2a>;
		clock-names = "sai_ck", "MCLK";

		sai2b_port:port{

			sai2b_endpoint:endpoint{
				remote-endpoint = <&wm8994_rx_endpoint>;
				format = "i2s";
				mclk-fs = <256>;
			};
		};
		/* USER CODE END sai2b */
	};
};

&sai4{
	pinctrl-names = "default", "sleep";
	pinctrl-0 = <&sai4a_pins_mx>;
	pinctrl-1 = <&sai4a_sleep_pins_mx>;
	status = "okay";

	/* USER CODE BEGIN sai4 */
	clocks = <&rcc SAI4>, <&rcc PLL3_Q>, <&rcc PLL3_R>;
	clock-names = "pclk", "x8k", "x11k";
	/* USER CODE END sai4 */

	sai4a:audio-controller@50027004{
		status = "okay";

		/* USER CODE BEGIN sai4a */
		dma-names = "tx";
		st,iec60958;

		sai4a_port:port{

			sai4a_endpoint:endpoint{
				remote-endpoint = <&spdif_out_endpoint>;
			};
		};
		/* USER CODE END sai4a */
	};
};

&sdmmc1{
	pinctrl-names = "default", "opendrain", "sleep";
	pinctrl-0 = <&sdmmc1_pins_mx>;
	pinctrl-1 = <&sdmmc1_opendrain_pins_mx>;
	pinctrl-2 = <&sdmmc1_sleep_pins_mx>;
	status = "okay";

	/* USER CODE BEGIN sdmmc1 */
	cd-gpios = <&gpiog 1 (GPIO_ACTIVE_LOW | GPIO_PULL_UP)>;
	disable-wp;
	st,sig-dir;
	st,neg-edge;
	st,use-ckin;
	bus-width = <4>;
	vmmc-supply = <&vdd_sd>;
	vqmmc-supply = <&sd_switch>;
	sd-uhs-sdr12;
	sd-uhs-sdr25;
	sd-uhs-sdr50;
	sd-uhs-ddr50;
	/* USER CODE END sdmmc1 */
};

&sdmmc2{
	pinctrl-names = "default", "opendrain", "sleep";
	pinctrl-0 = <&sdmmc2_pins_mx>;
	pinctrl-1 = <&sdmmc2_opendrain_pins_mx>;
	pinctrl-2 = <&sdmmc2_sleep_pins_mx>;
	status = "okay";

	/* USER CODE BEGIN sdmmc2 */
	non-removable;
	no-sd;
	no-sdio;
	st,neg-edge;
	bus-width = <8>;
	vmmc-supply = <&v3v3>;
	vqmmc-supply = <&vdd>;
	mmc-ddr-3_3v;
	/* USER CODE END sdmmc2 */
};

&spdifrx{
	pinctrl-names = "default", "sleep";
	pinctrl-0 = <&spdifrx_pins_mx>;
	pinctrl-1 = <&spdifrx_sleep_pins_mx>;
	status = "okay";

	/* USER CODE BEGIN spdifrx */

	spdifrx_port:port{

		spdifrx_endpoint:endpoint{
			remote-endpoint = <&spdif_in_endpoint>;
		};
	};
	/* USER CODE END spdifrx */
};

&tamp{
	status = "okay";

	/* USER CODE BEGIN tamp */
	/* USER CODE END tamp */
};

&timers6{
	status = "okay";

	/* USER CODE BEGIN timers6 */
	/delete-property/ dmas;
	/delete-property/ dma-names;

	timer@5{
		status = "okay";
	};
	/* USER CODE END timers6 */
};

&uart4{
	pinctrl-names = "default", "idle", "sleep";
	pinctrl-0 = <&uart4_pins_mx>;
	pinctrl-1 = <&uart4_idle_pins_mx>;
	pinctrl-2 = <&uart4_sleep_pins_mx>;
	status = "okay";

	/* USER CODE BEGIN uart4 */
	/delete-property/ dmas;
	/delete-property/ dma-names;
	/* USER CODE END uart4 */
};

&usbh_ehci{
	status = "okay";

	/* USER CODE BEGIN usbh_ehci */
	phys = <&usbphyc_port0>;
	#address-cells = <1>;
	#size-cells = <0>;

	hub@1{
		compatible = "usb424,2514";
		reg = <1>;
		vdd-supply = <&v3v3>;
	};
	/* USER CODE END usbh_ehci */
};

&usbh_ohci{
	status = "okay";

	/* USER CODE BEGIN usbh_ohci */
	/* USER CODE END usbh_ohci */
};

&usbotg_hs{
	pinctrl-names = "default", "sleep";
	pinctrl-0 = <&usb_otg_hs_pins_mx>;
	pinctrl-1 = <&usb_otg_hs_sleep_pins_mx>;
	status = "okay";

	/* USER CODE BEGIN usbotg_hs */
	vbus-supply = <&vbus_otg>;
	phys = <&usbphyc_port1 0>;
	phy-names = "usb2-phy";
	/* USER CODE END usbotg_hs */
};

&usbphyc{
	status = "okay";

	/* USER CODE BEGIN usbphyc */
	/* USER CODE END usbphyc */
};

&usbphyc_port0{
	status = "okay";

	/* USER CODE BEGIN usbphyc_port0 */
	phy-supply = <&vdd_usb>;
	st,tune-hs-dc-level = <2>;
	st,enable-fs-rftime-tuning;
	st,enable-hs-rftime-reduction;
	st,trim-hs-current = <15>;
	st,trim-hs-impedance = <1>;
	st,tune-squelch-level = <3>;
	st,tune-hs-rx-offset = <2>;
	st,no-lsfs-sc;

	connector{
		compatible = "usb-a-connector";
		vbus-supply = <&vbus_sw>;
	};
	/* USER CODE END usbphyc_port0 */
};

&usbphyc_port1{
	status = "okay";

	/* USER CODE BEGIN usbphyc_port1 */
	phy-supply = <&vdd_usb>;
	st,tune-hs-dc-level = <2>;
	st,enable-fs-rftime-tuning;
	st,enable-hs-rftime-reduction;
	st,trim-hs-current = <15>;
	st,trim-hs-impedance = <1>;
	st,tune-squelch-level = <3>;
	st,tune-hs-rx-offset = <2>;
	st,no-lsfs-sc;
	/* USER CODE END usbphyc_port1 */
};

/* USER CODE BEGIN addons */

&arm_wdt{
	timeout-sec = <32>;
	status = "okay";
};

&cpu0{
	cpu-supply = <&vddcore>;
};

&cpu1{
	cpu-supply = <&vddcore>;
};

&sram4{

	dcmi_pool:dcmi-pool@0{
		reg = <0x0 0x8000>;
		pool;
	};
};

&usbh_ohci {
	phys = <&usbphyc_port0>;
	phy-names = "usb";
	vbus-supply = <&vbus_sw>;
};
/* USER CODE END addons */

